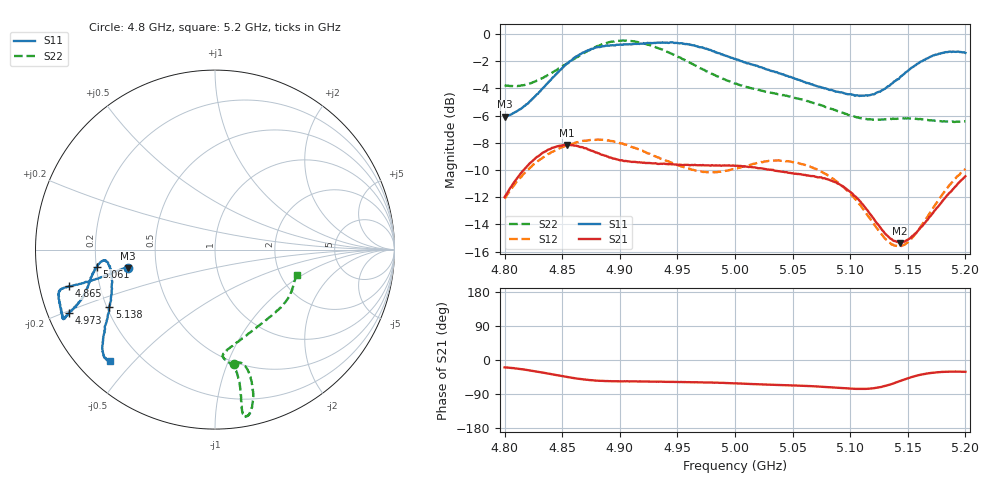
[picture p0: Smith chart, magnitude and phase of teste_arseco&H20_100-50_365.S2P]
! Network Analyzer HP8722D
! Hewlett-Packard
! Data name: Linha & Wilkinson
! Saver's name: Rodrigo Anjos
! Comments: Teste da utilização de aquisição
! continua pelo VNA HP8722D
! Time and date: 6/5/2025 15:36
!  Frequency  S11  S21  S12  S22
# HZ  S  MA R 50
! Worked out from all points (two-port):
!   401 points, 4.8 GHz to 5.2 GHz, reference 50 ohm
!   highest |S21| = -8.15 dB at 4.854 GHz (marker M1); lowest = -15.4 dB at 5.143 GHz (marker M2)
!   |S21| within 3 dB of the highest: 4.806 GHz to 5.093 GHz (286.2 MHz wide, 5.78 % of centre); 5.192093 GHz to end of sweep
!   lowest |S11| = -6.1 dB at 4.8 GHz (marker M3), VSWR 2.97, Z = 17 - j4.6 ohm
!   |S11| at or under -10 dB: nowhere
!   |S22| runs from -6.5 to -0.5 dB; largest |S21 - S12| = 0.62
!   S11 on the Smith chart (normalised r, x): 4.8 GHz: 0.34, -0.09; 4.865 GHz: 0.09, -0.12; 4.973 GHz: 0.06, -0.21; 5.061 GHz: 0.20, -0.07; 5.138 GHz: 0.21, -0.24; 5.2 GHz: 0.09, -0.43
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4.8e9  0.4958 -168.1  0.2514 -19.5  0.2481 -140.7  0.6488 -80.4
4.826e9  0.5871 -167.2  0.3472 -29.5  0.333 -144.3  0.6673 -75.7
4.854e9  0.7767 -165.8  0.3911 -44.8  0.3889 -149.8  0.7779 -74.6
4.865e9  0.8394 -165.9  0.3847 -49.8  0.4013 -151.6  0.8321 -75.1
4.867e9  0.8486 -165.8  0.3839 -50.5  0.4031 -151.9  0.843 -75.3
4.88e9  0.8921 -165.3  0.3666 -54.5  0.4085 -154.0  0.8991 -76.7
4.901e9  0.9133 -162.4  0.3434 -56.1  0.3958 -156.7  0.9453 -79.1
4.934e9  0.9298 -156.3  0.3328 -57.4  0.3512 -155.6  0.8837 -80.5
4.951e9  0.9241 -155.4  0.3303 -58.0  0.3285 -152.5  0.8222 -79.9
4.973e9  0.8871 -156.6  0.3289 -59.4  0.3108 -145.8  0.7386 -79.7
5e9  0.8094 -158.9  0.3277 -61.6  0.3197 -137.1  0.6564 -81.2
5.035e9  0.724 -165.2  0.3141 -65.8  0.3426 -134.2  0.6036 -85.5
5.061e9  0.6644 -171.8  0.3034 -68.2  0.3299 -136.2  0.5706 -84.0
5.067e9  0.6531 -172.9  0.3005 -69.0  0.3235 -136.6  0.5592 -82.6
5.088e9  0.613 -174.2  0.2841 -73.0  0.2874 -138.5  0.5232 -74.3
5.104e9  0.5923 -170.9  0.2534 -76.0  0.2479 -138.5  0.4964 -64.7
5.134e9  0.644 -154.0  0.1782 -65.3  0.1709 -120.8  0.4868 -43.3
5.138e9  0.6685 -151.7  0.1735 -61.2  0.167 -115.6  0.487 -40.9
5.143e9  0.6903 -149.2  0.1707 -55.9  0.166 -109.1  0.4883 -37.9
5.154e9  0.7541 -144.4  0.1811 -44.4  0.1787 -95.0  0.4883 -32.4
5.173e9  0.8348 -138.8  0.2236 -33.2  0.2327 -80.7  0.4807 -24.1
5.2e9  0.852 -133.5  0.2999 -31.2  0.3191 -76.8  0.4771 -17.5
